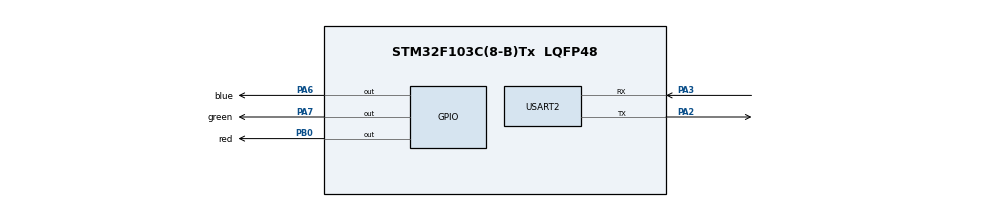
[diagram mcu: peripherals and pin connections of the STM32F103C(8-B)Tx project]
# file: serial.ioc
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Dma.Request0=USART2_TX
Dma.Request1=USART2_RX
Dma.USART2_RX.1.Direction=DMA_PERIPH_TO_MEMORY
Dma.USART2_RX.1.Instance=DMA1_Channel6
Dma.USART2_RX.1.MemDataAlignment=DMA_MDATAALIGN_BYTE
Dma.USART2_RX.1.MemInc=DMA_MINC_ENABLE
Dma.USART2_RX.1.Mode=DMA_NORMAL
Dma.USART2_RX.1.PeriphDataAlignment=DMA_PDATAALIGN_BYTE
Dma.USART2_RX.1.PeriphInc=DMA_PINC_DISABLE
Dma.USART2_RX.1.Priority=DMA_PRIORITY_LOW
Dma.USART2_TX.0.Direction=DMA_MEMORY_TO_PERIPH
Dma.USART2_TX.0.Instance=DMA1_Channel7
Dma.USART2_TX.0.MemDataAlignment=DMA_MDATAALIGN_BYTE
Dma.USART2_TX.0.MemInc=DMA_MINC_ENABLE
Dma.USART2_TX.0.Mode=DMA_NORMAL
Dma.USART2_TX.0.PeriphDataAlignment=DMA_PDATAALIGN_BYTE
Dma.USART2_TX.0.PeriphInc=DMA_PINC_DISABLE
Dma.USART2_TX.0.Priority=DMA_PRIORITY_LOW
Mcu.Family=STM32F1
Mcu.Name=STM32F103C(8-B)Tx
Mcu.Package=LQFP48
NVIC.DMA1_Channel6_IRQn=true\:0\:0\:false\:false\:true\:false\:true\:true
NVIC.DMA1_Channel7_IRQn=true\:0\:0\:false\:false\:true\:false\:true\:true
NVIC.PriorityGroup=NVIC_PRIORITYGROUP_4
NVIC.USART2_IRQn=true\:0\:0\:false\:false\:true\:true\:true\:true
PA13.Mode=Serial_Wire
PA13.Signal=SYS_JTMS-SWDIO
PA14.Mode=Serial_Wire
PA14.Signal=SYS_JTCK-SWCLK
PA2.Mode=Asynchronous
PA2.Signal=USART2_TX
PA3.Mode=Asynchronous
PA3.Signal=USART2_RX
PA6.GPIO_Label=blue
PA6.Signal=GPIO_Output
PA7.GPIO_Label=green
PA7.Signal=GPIO_Output
PB0.GPIO_Label=red
PB0.Signal=GPIO_Output
ProjectManager.HeapSize=0x200
ProjectManager.StackSize=0x400
ProjectManager.TargetToolchain=STM32CubeIDE
RCC.APB1Freq_Value=8000000
RCC.APB2Freq_Value=8000000
USART2.VirtualMode=VM_ASYNC
board=custom

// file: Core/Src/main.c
/* USER CODE BEGIN Header */
/**
  ******************************************************************************
  * @file           : main.c
  * @brief          : Main program body
  ******************************************************************************
  * @attention
  *
  * Copyright (c) 2026 STMicroelectronics.
  * All rights reserved.
  *
  * This software is licensed under terms that can be found in the LICENSE file
  * in the root directory of this software component.
  * If no LICENSE file comes with this software, it is provided AS-IS.
  *
  ******************************************************************************
  */
/* USER CODE END Header */
#include "main.h"

/* USER CODE BEGIN Includes */
#include<string.h>
/* USER CODE END Includes */

UART_HandleTypeDef huart2;
DMA_HandleTypeDef hdma_usart2_tx;
DMA_HandleTypeDef hdma_usart2_rx;

/* USER CODE BEGIN PV */
uint8_t rd[50];//receivedata
/* USER CODE END PV */

void SystemClock_Config(void);
static void MX_GPIO_Init(void);
static void MX_DMA_Init(void);
static void MX_USART2_UART_Init(void);

/* USER CODE BEGIN 0 */

void HAL_UART_RxCpltCallback(UART_HandleTypeDef *huart)
{
	HAL_UART_Transmit_DMA(&huart2, rd, 2);
	GPIO_PinState st=GPIO_PIN_SET;
	if(rd[1]=='0')
	{
	  st=GPIO_PIN_RESET;
	}
	if(rd[0]=='R')
	{
	  HAL_GPIO_WritePin(red_GPIO_Port, red_Pin, st);
	}
	if(rd[0]=='B')
	{
	  HAL_GPIO_WritePin(blue_GPIO_Port, blue_Pin, st);
	}
	if(rd[0]=='G')
	{
	  HAL_GPIO_WritePin(green_GPIO_Port, green_Pin, st);
	}
	HAL_UART_Receive_DMA(&huart2, rd, 50);
}

void HAL_UARTEx_RxEventCallback(UART_HandleTypeDef *huart, uint16_t Size)
{
	if(huart==&huart2)
	{
		HAL_UART_Transmit_DMA(&huart2, rd, Size);//size入参
		HAL_UARTEx_ReceiveToIdle_DMA(&huart2, rd, 50);//长度过大会触发传输过半中断，执行此函数
		__HAL_DMA_DISABLE_IT(&hdma_usart2_rx,DMA_IT_HT);//关闭过半中断
	}
}
/* USER CODE END 0 */

int main(void)
{

  /* MCU Configuration--------------------------------------------------------*/

  /* Reset of all peripherals, Initializes the Flash interface and the Systick. */
  HAL_Init();

  /* Configure the system clock */
  SystemClock_Config();

  /* Initialize all configured peripherals */
  MX_GPIO_Init();
  MX_DMA_Init();
  MX_USART2_UART_Init();
  /* USER CODE BEGIN 2 */

//  ▲初始化串口2

//  HAL_UART_Receive_DMA(&huart2, rd, 2);

  __HAL_DMA_DISABLE_IT(&hdma_usart2_rx,DMA_IT_HT);
  HAL_UARTEx_ReceiveToIdle_DMA(&huart2, rd, 50);

//  char message[]="Hello World";

  /* USER CODE END 2 */

  /* Infinite loop */
  /* USER CODE BEGIN WHILE */
  while (1)
  {
	  //这里有一些复杂代码
//	  HAL_UART_Transmit(&huart2, (uint8_t*)message,strlen(message), 1000);
//	  //要操作的串口的指针
//	  //需要发送信息的指针
//	  //需要发送信息的长度
//	  //timeout时间 HAL_MAX_DELAY
//
//	  HAL_Delay(1000);

	  //接收串口数据
//	  HAL_UART_Receive(&huart2, rd, 2, HAL_MAX_DELAY);//堵塞执行
//	  HAL_UART_Transmit(&huart2, rd, 2, 100);

    /* USER CODE END WHILE */

  }
}

void SystemClock_Config(void)
{
  RCC_OscInitTypeDef RCC_OscInitStruct = {0};
  RCC_ClkInitTypeDef RCC_ClkInitStruct = {0};

  /** Initializes the RCC Oscillators according to the specified parameters
  * in the RCC_OscInitTypeDef structure.
  */
  RCC_OscInitStruct.OscillatorType = RCC_OSCILLATORTYPE_HSI;
  RCC_OscInitStruct.HSIState = RCC_HSI_ON;
  RCC_OscInitStruct.HSICalibrationValue = RCC_HSICALIBRATION_DEFAULT;
  RCC_OscInitStruct.PLL.PLLState = RCC_PLL_NONE;
  if (HAL_RCC_OscConfig(&RCC_OscInitStruct) != HAL_OK)
  {
    Error_Handler();
  }

  /** Initializes the CPU, AHB and APB buses clocks
  */
  RCC_ClkInitStruct.ClockType = RCC_CLOCKTYPE_HCLK|RCC_CLOCKTYPE_SYSCLK
                              |RCC_CLOCKTYPE_PCLK1|RCC_CLOCKTYPE_PCLK2;
  RCC_ClkInitStruct.SYSCLKSource = RCC_SYSCLKSOURCE_HSI;
  RCC_ClkInitStruct.AHBCLKDivider = RCC_SYSCLK_DIV1;
  RCC_ClkInitStruct.APB1CLKDivider = RCC_HCLK_DIV1;
  RCC_ClkInitStruct.APB2CLKDivider = RCC_HCLK_DIV1;

  if (HAL_RCC_ClockConfig(&RCC_ClkInitStruct, FLASH_LATENCY_0) != HAL_OK)
  {
    Error_Handler();
  }
}

static void MX_USART2_UART_Init(void)
{

  huart2.Instance = USART2;
  huart2.Init.BaudRate = 115200;
  huart2.Init.WordLength = UART_WORDLENGTH_8B;
  huart2.Init.StopBits = UART_STOPBITS_1;
  huart2.Init.Parity = UART_PARITY_NONE;
  huart2.Init.Mode = UART_MODE_TX_RX;
  huart2.Init.HwFlowCtl = UART_HWCONTROL_NONE;
  huart2.Init.OverSampling = UART_OVERSAMPLING_16;
  if (HAL_UART_Init(&huart2) != HAL_OK)
  {
    Error_Handler();
  }

}

static void MX_DMA_Init(void)
{

  /* DMA controller clock enable */
  __HAL_RCC_DMA1_CLK_ENABLE();

  /* DMA interrupt init */
  /* DMA1_Channel6_IRQn interrupt configuration */
  HAL_NVIC_SetPriority(DMA1_Channel6_IRQn, 0, 0);
  HAL_NVIC_EnableIRQ(DMA1_Channel6_IRQn);
  /* DMA1_Channel7_IRQn interrupt configuration */
  HAL_NVIC_SetPriority(DMA1_Channel7_IRQn, 0, 0);
  HAL_NVIC_EnableIRQ(DMA1_Channel7_IRQn);

}

static void MX_GPIO_Init(void)
{
  GPIO_InitTypeDef GPIO_InitStruct = {0};

  /* GPIO Ports Clock Enable */
  __HAL_RCC_GPIOA_CLK_ENABLE();
  __HAL_RCC_GPIOB_CLK_ENABLE();

  /*Configure GPIO pin Output Level */
  HAL_GPIO_WritePin(GPIOA, blue_Pin|green_Pin, GPIO_PIN_RESET);

  /*Configure GPIO pin Output Level */
  HAL_GPIO_WritePin(red_GPIO_Port, red_Pin, GPIO_PIN_RESET);

  /*Configure GPIO pins : blue_Pin green_Pin */
  GPIO_InitStruct.Pin = blue_Pin|green_Pin;
  GPIO_InitStruct.Mode = GPIO_MODE_OUTPUT_PP;
  GPIO_InitStruct.Pull = GPIO_NOPULL;
  GPIO_InitStruct.Speed = GPIO_SPEED_FREQ_LOW;
  HAL_GPIO_Init(GPIOA, &GPIO_InitStruct);

  /*Configure GPIO pin : red_Pin */
  GPIO_InitStruct.Pin = red_Pin;
  GPIO_InitStruct.Mode = GPIO_MODE_OUTPUT_PP;
  GPIO_InitStruct.Pull = GPIO_NOPULL;
  GPIO_InitStruct.Speed = GPIO_SPEED_FREQ_LOW;
  HAL_GPIO_Init(red_GPIO_Port, &GPIO_InitStruct);

}

void Error_Handler(void)
{
  __disable_irq();
  while (1)
  {
  }
}
